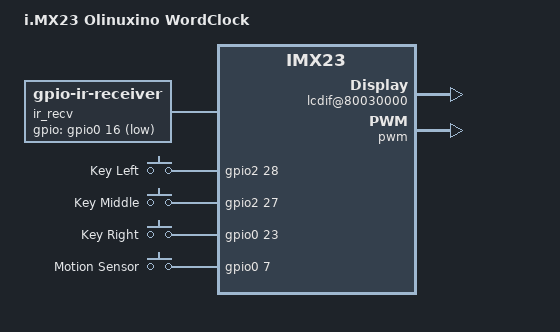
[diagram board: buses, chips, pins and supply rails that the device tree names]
// SPDX-License-Identifier: GPL-2.0-or-later
/*
 * Copyright 2012 Freescale Semiconductor, Inc.
 *
 * Author: Fabio Estevam <fabio.estevam@freescale.com>
 */

#include "imx23-olinuxino.dts"
#include <dt-bindings/input/input.h>

/ {
	model = "i.MX23 Olinuxino WordClock";

	apb@80000000 {
		apbh-bus@80000000 {
			pinctrl@80018000 {
				ir_pin_gpio0_16: ir_gpio0_16@0 {
					reg = <0>;
					fsl,pinmux-ids = <
						MX23_PAD_GPMI_CLE__GPIO_0_16
					>;
					fsl,drive-strength = <MXS_DRIVE_4mA>;
					fsl,voltage = <MXS_VOLTAGE_HIGH>;
					fsl,pull-up = <MXS_PULL_DISABLE>;
				};

				lcdif_16bit_pins_a: lcdif-16bit@0 {
					reg = <0>;
					fsl,pinmux-ids = <
						MX23_PAD_LCD_D00__LCD_D00
						MX23_PAD_LCD_D01__LCD_D01
						MX23_PAD_LCD_D02__LCD_D02
						MX23_PAD_LCD_D03__LCD_D03
						MX23_PAD_LCD_D04__LCD_D04
						MX23_PAD_LCD_D05__LCD_D05
						MX23_PAD_LCD_D06__LCD_D06
						MX23_PAD_LCD_D07__LCD_D07
						MX23_PAD_LCD_D08__LCD_D08
						MX23_PAD_LCD_D09__LCD_D09
						MX23_PAD_LCD_D10__LCD_D10
						MX23_PAD_LCD_D11__LCD_D11
						MX23_PAD_LCD_D12__LCD_D12
						MX23_PAD_LCD_D13__LCD_D13
						MX23_PAD_LCD_D14__LCD_D14
						MX23_PAD_LCD_D15__LCD_D15
						MX23_PAD_LCD_DOTCK__LCD_DOTCK
						MX23_PAD_LCD_ENABLE__LCD_ENABLE
						MX23_PAD_LCD_HSYNC__LCD_HSYNC
						MX23_PAD_LCD_VSYNC__LCD_VSYNC
					>;
					fsl,drive-strength = <MXS_DRIVE_8mA>;
					fsl,voltage = <MXS_VOLTAGE_HIGH>;
					fsl,pull-up = <MXS_PULL_DISABLE>;
				};
			};

			lcdif@80030000 {
				pinctrl-names = "default";
				pinctrl-0 = <&lcdif_16bit_pins_a>;
				display = <&display0>;
				status = "okay";

				display0: display0 {
					bits-per-pixel = <16>;
					bus-width = <16>;

					display-timings {
						native-mode = <&timing0>;
						timing0: timing0 {
							clock-frequency = <4800000>;
							hactive = <142>;
							vactive = <120>; /* Less vactive means less leds, but higher frame rate. */
							hback-porch = <0>; /* can be 0 */
							hfront-porch = <1>; /* canNOT be 0 */
							vback-porch = <1>;
							vfront-porch = <1>;
							hsync-len = <1>; /* Can be 0, but imx does weird things that way... */
							vsync-len = <544>;
							hsync-active = <0>;
							vsync-active = <0>;
							de-active = <1>;
							pixelclk-active = <0>;
						};
					};
				};
			};
		};

		apbx-bus@80040000 {
			i2c: i2c@80058000 {
				status = "disabled";
			};

			auart0: serial@8006c000 {
				status = "disabled";
			};
			
			pwm: pwm@80064000 {
				pinctrl-names = "default";
				pinctrl-0 = <&pwm2_pins_a>;
				status = "okay";
				fsl,drive-strength = <MXS_DRIVE_8mA>;
			};
		};
	};

	ir_recv: gpio-ir-receiver {
		compatible = "gpio-ir-receiver";
		gpios = <&gpio0 16 GPIO_ACTIVE_LOW>;
		pinctrl-names = "default";
		pinctrl-0 = <&ir_pin_gpio0_16>;
	};

	gpio-keys {
        compatible = "gpio-keys";
        autorepeat;

        key-left {
            label = "Key Left";
            linux,code = <BTN_LEFT>;
            gpios = <&gpio2 28 GPIO_ACTIVE_HIGH>;
        };

        key-middle {
            label = "Key Middle";
            linux,code = <BTN_MIDDLE>;
            gpios = <&gpio2 27 GPIO_ACTIVE_HIGH>;
        };

        key-right {
            label = "Key Right";
            linux,code = <BTN_RIGHT>;
            gpios = <&gpio0 23 GPIO_ACTIVE_HIGH>;
        };

		switch-motion {
			label = "Motion Sensor";
			linux,input-type = <EV_SW>;
			linux,code = <SW_FRONT_PROXIMITY>;
			gpios = <&gpio0 7 GPIO_ACTIVE_HIGH>;
			debounce-interval = <50>;
		};
    };
};
